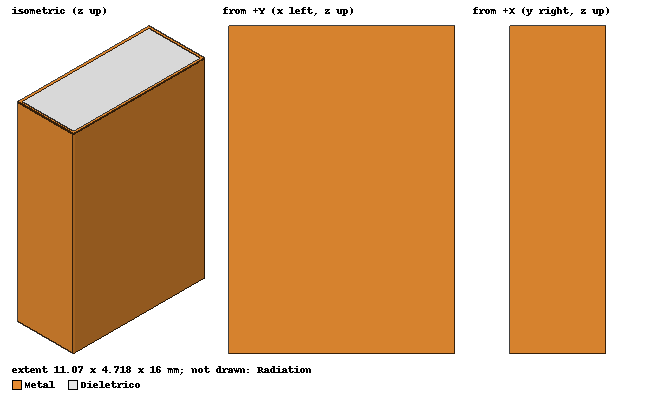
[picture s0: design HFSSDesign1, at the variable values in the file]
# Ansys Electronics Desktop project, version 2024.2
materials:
  vacuum: permittivity=1
  copper: permeability=0.999991 conductivity=58000000
  air: permittivity=1.0006 permeability=1.0000004
  Arlon DiClad 880 (tm): permittivity=2.2 dielectric_loss_tangent=0.0009

design HFSSDesign1 (HFSS, HFSS Modal Network, model units mm)
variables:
  a = 10.668mm
  b = 4.318mm
  L = 16mm
  th = 0.2mm
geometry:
  Box1 = box(corner=(-a/2, -b/2, 0mm), size=(a, b, L*5))
  Metal [copper] = box(corner=(-a/2 -th, -b/2 -th, 0mm), size=(a+ 2*th, b+2*th, L))
  Metal.subtract(Box1)
  Dieletrico [air] = box(corner=(-a/2, -b/2, 0mm), size=(a, b, L))
  Radiation [air] = box(corner=(-a/2 -2.5mm, -b/2 -2.5mm, 0mm), size=(a+5mm, b+5mm, L))
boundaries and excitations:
  Rad1: Radiation Objects=Radiation
  1: Wave Port Faces=Dieletrico.face(-z) WavePortType=Modal NumModes=4 Modes{Mode1{IntLine{(0, -2.159, 0) -> (0, 2.159, 0)} CharImp=Zpi} Mode2{CharImp=Zpi} Mode3{CharImp=Zpi} Mode4{CharImp=Zpi}}
  2: Wave Port Faces=Dieletrico.face(+z) WavePortType=Modal NumModes=4 Modes{Mode1{IntLine{(500mm, -2000mm, 16000mm) -> (500mm, 2000mm, 16000mm)} CharImp=Zpi} Mode2{CharImp=Zpi} Mode3{CharImp=Zpi} Mode4{CharImp=Zpi}}
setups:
  Setup1: HfssDriven Frequency=35GHz MaxDeltaS=0.02 MaximumPasses=20 MinimumPasses=1 MinimumConvergedPasses=1 PercentRefinement=30 BasisOrder=1 PortAccuracy=2 DrivenSolverType="Direct Solver"
    sweep Sweep: 12GHz to 40GHz step 0.5GHz; Type=Discrete SaveFields
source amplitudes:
  1:1: 1W 0deg
  1:2, 1:3, 1:4, 2:1..2:4: 0W 0deg
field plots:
  Mag_E2: E Field in Dieletrico on Setup1 : Sweep at Freq=25GHz Phase=0deg
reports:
  Gamma Plot 1: im(Gamma(1:1)), im(Gamma(1:2)), im(Gamma(1:3)) vs Freq on Setup1 : Sweep; markers m1 at 34.5GHz
  Gamma Plot 2: re(Gamma(1:1)), re(Gamma(1:2)), re(Gamma(1:3)) vs Freq on Setup1 : Sweep
  S Parameter Plot 1: dB(S(2:1,1:1)), dB(S(1:2,2:2)), dB(S(1:3,2:3)) vs Freq on Setup1 : Sweep; markers m1 at 14.5GHz, m2 at 28.5GHz, m3 at 35GHz
